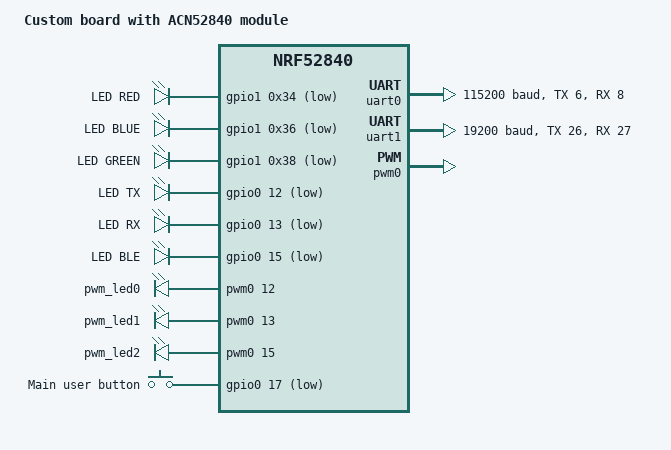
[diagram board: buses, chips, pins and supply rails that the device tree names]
/dts-v1/;
#include <nordic/nrf52840_qiaa.dtsi>

/ {
	model = "Custom board with ACN52840 module";
	compatible = "nordic,nrf52840-dk-nrf52840";

	chosen {
		zephyr,console = &uart0;
		zephyr,shell-uart = &uart0;
		zephyr,uart-mcumgr = &uart0;
		zephyr,bt-mon-uart = &uart0;
		zephyr,bt-c2h-uart = &uart0;
		zephyr,sram = &sram0;
		zephyr,flash = &flash0;
		zephyr,code-partition = &slot0_partition;
	};

	leds {
		compatible = "gpio-leds";

		/* embedded RGB led */
		led_red {
			gpios = <&gpio1 0x34 GPIO_ACTIVE_LOW>;
			label = "LED RED";
		};
		led_blue {
			gpios = <&gpio1 0x36 GPIO_ACTIVE_LOW>;
			label = "LED BLUE";
		};
		led_green {
			gpios = <&gpio1 0x38 GPIO_ACTIVE_LOW>;
			label = "LED GREEN";
		};

		led0 {
			gpios = <&gpio0 12 GPIO_ACTIVE_LOW>;
			label = "LED TX";
		};
		led1 {
			gpios = <&gpio0 13 GPIO_ACTIVE_LOW>;
			label = "LED RX";
		};
		led2 {
			gpios = <&gpio0 15 GPIO_ACTIVE_LOW>;
			label = "LED BLE";
		};
	};

	pwmleds {
		compatible = "pwm-leds";

		pwm_led0: pwm_led_tx {
			pwms = <&pwm0 12>;
		};
		pwm_led1: pwm_led_rx {
			pwms = <&pwm0 13>;
		};
		pwm_led2: pwm_led_ble {
			pwms = <&pwm0 15>;
		};
	};

	buttons {
		compatible = "gpio-keys";
		button0: button {
			gpios = <&gpio0 17 (GPIO_PULL_UP | GPIO_ACTIVE_LOW)>;
			label = "Main user button";
		};
	};

	aliases {
		ipc-uart = &uart1;

		ble-led = &pwm_led2;
		ipc-rx-led = &pwm_led1;
		ipc-tx-led = &pwm_led0;
		user-button = &button0;

		counter = &timer3;

		/* if prefer rtc2 */
		counter-alt = &rtc2;
	};
};

/* debug uart: default config */
&uart0 {
	compatible = "nordic,nrf-uarte";
	status = "okay";
	current-speed = <115200>;
	tx-pin = <6>;
	rx-pin = <8>;
	rx-pull-up;
	// rts-pin = <5>;
	// cts-pin = <7>;
	// cts-pull-up;
};

/* ipc uart */
&uart1 {
	compatible = "nordic,nrf-uarte";
	status = "okay";

	/* 1200, 2400, 4800, 9600, 14400, 19200, 28800, 31250, 38400, 56000, 57600, 76800, 115200, 230400, 250000, 460800, 921600, 1000000 */
	current-speed = <19200>;
	rx-pin = <27>;
	rx-pull-up;
	tx-pin = <26>;
	parity = "none";
};

&pwm0 {
	status = "okay";

	ch0-pin = <12>;
	ch0-inverted;

	ch1-pin = <13>;
	ch1-inverted;

	ch2-pin = <15>;
	ch2-inverted;
};

&pwm1 {
	status = "disabled";
};

&pwm2 {
	status = "disabled";
};

&pwm3 {
	status = "disabled";
};

&flash0 {
	partitions {
		compatible = "fixed-partitions";
		#address-cells = <1>;
		#size-cells = <1>;

		boot_partition: partition@0 {
			label = "mcuboot";
			reg = <0x000000000 0x0000C000>;
		};
		slot0_partition: partition@c000 {
			label = "image-0";
			reg = <0x0000C000 0x00067000>;
		};
		slot1_partition: partition@73000 {
			label = "image-1";
			reg = <0x00073000 0x00067000>;
		};
		scratch_partition: partition@da000 {
			label = "image-scratch";
			reg = <0x000da000 0x0001e000>;
		};

		/*
		 * The flash starting at 0x000f8000 and ending at
		 * 0x000fffff is reserved for use by the application.
		 */

		/*
		 * Storage partition will be used by FCB/LittleFS/NVS
		 * if enabled.
		 */
		storage_partition: partition@f8000 {
			label = "storage";
			reg = <0x000f8000 0x00008000>;
		};
	};
};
